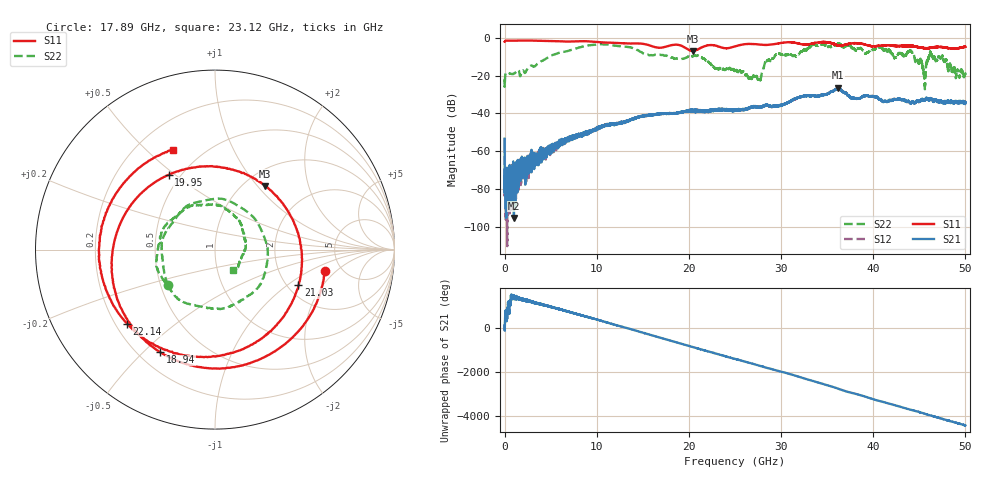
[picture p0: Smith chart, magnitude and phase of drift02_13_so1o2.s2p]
!Created with skrf (http://scikit-rf.org).
# Hz S RI R 50.0
!freq ReS11 ImS11 ReS21 ImS21 ReS12 ImS12 ReS22 ImS22
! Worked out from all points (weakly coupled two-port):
!   10001 points, 300 kHz to 50 GHz, reference 50 ohm
!   highest |S21| = -26.32 dB at 36.14 GHz (marker M1); lowest = -95.3 dB at 1.01 GHz (marker M2)
!   lowest |S11| = -6.9 dB at 20.45 GHz (marker M3), VSWR 2.64, Z = 61.7 + j54.8 ohm
!   |S11| at or under -10 dB: nowhere
!   |S22| runs from -27.2 to -2.8 dB; largest |S21 - S12| = 0.0049
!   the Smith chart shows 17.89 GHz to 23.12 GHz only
!   S11 on the Smith chart (normalised r, x): 17.89 GHz: 3.71, -1.44; 18.94 GHz: 0.29, -0.56; 19.95 GHz: 0.43, +0.47; 21.03 GHz: 2.28, -1.22; 22.14 GHz: 0.25, -0.34; 23.12 GHz: 0.35, +0.61
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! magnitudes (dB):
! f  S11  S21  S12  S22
! 300 kHz  -2.1  -53.4  -55.9  -21.8
! 255.3 MHz  -1.4  -87.0  -80.1  -18.2
! 1.01 GHz  -1.5  -95.3  -66.4  -19.0
! 8.335 GHz  -1.7  -51.3  -51.5  -4.7
! 16.67 GHz  -5.2  -40.4  -40.3  -8.9
! 17.89 GHz  -4.1  -39.9  -40.0  -9.7
! 18.94 GHz  -3.8  -39.7  -39.6  -10.9
! 19.95 GHz  -6.2  -38.6  -38.6  -9.9
! 20.45 GHz  -6.9  -38.1  -38.2  -9.7
! 21.03 GHz  -5.9  -38.6  -38.1  -9.5
! 22.14 GHz  -3.9  -38.2  -38.6  -12.8
! 23.12 GHz  -4.4  -38.1  -37.8  -16.3
! 25 GHz  -4.5  -38.4  -38.6  -17.5
! 27.62 GHz  -3.5  -36.7  -36.6  -21.9
! 29.54 GHz  -3.1  -36.0  -36.3  -8.8
! 33.34 GHz  -3.1  -30.7  -30.6  -3.8
! 36.14 GHz  -3.9  -26.3  -26.8  -3.2
! 41.67 GHz  -3.9  -33.2  -33.4  -6.3
! 44.12 GHz  -4.1  -34.5  -34.7  -7.2
! 45.5 GHz  -5.4  -32.7  -33.0  -18.5
! 46.27 GHz  -5.3  -32.6  -32.3  -8.9
! 50 GHz  -4.7  -34.2  -34.2  -19.0
